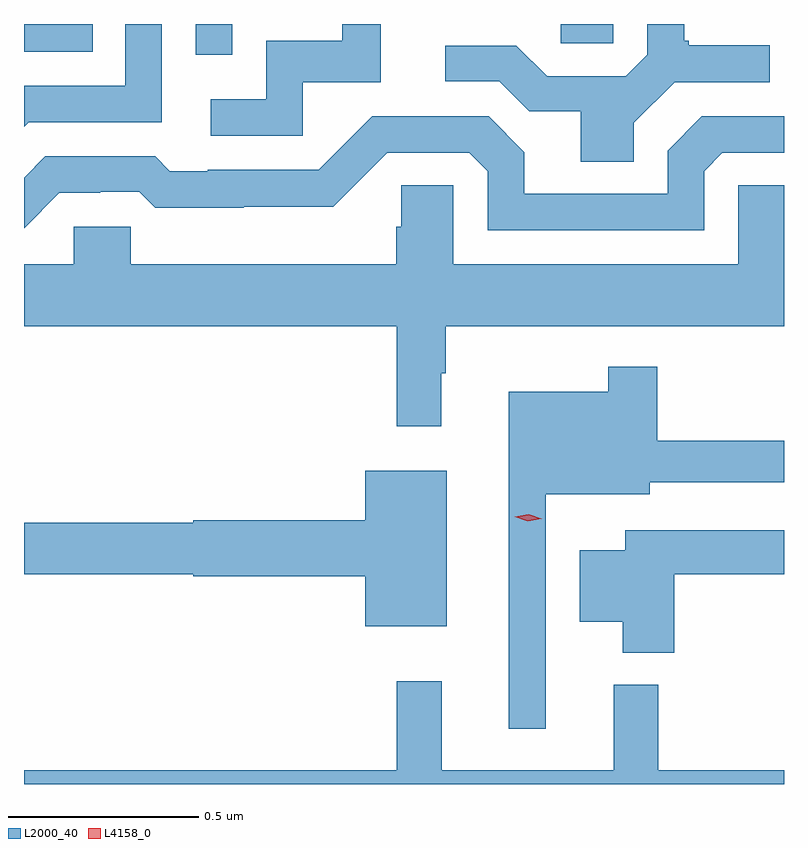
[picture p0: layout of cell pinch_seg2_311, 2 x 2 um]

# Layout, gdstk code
import gdstk
lib = gdstk.Library(unit=1e-6, precision=1e-09)
def R(c, l, rs):  # rectangles x0, y0, x1, y1
    for r in rs: c.add(gdstk.rectangle(r[:2], r[2:], *l))
def P(c, l, *ps):  # polygons
    for p in ps: c.add(gdstk.Polygon(p, *l))
L2000_40 = (2000, 40)
L4158_0 = (4158, 0)

pinch_seg2_311 = lib.new_cell('pinch_seg2_311')
R(pinch_seg2_311, L2000_40, [(946.35,635.031,946.446,635.112), (945.898,635.039,946.079,635.112), (947.311,635.061,947.448,635.112)])
P(pinch_seg2_311, L2000_40, [(946.632,634.959),(946.837,634.959),(946.837,635.112),(946.735,635.112),(946.735,635.068),(946.536,635.068),(946.536,634.914),(946.389,634.914),(946.389,634.818),(946.632,634.818)],
  [(947.503,634.852),(947.61,634.959),(947.86,634.959),(947.86,635.056),(947.647,635.056),(947.647,635.068),(947.635,635.068),(947.635,635.112),(947.538,635.112),(947.538,635.031),(947.481,634.974),(947.275,634.974),(947.194,635.055),(947.007,635.055),(947.007,634.962),(947.148,634.962),(947.228,634.882),(947.363,634.882),(947.363,634.75),(947.503,634.75)],
  [(945.91,634.854),(946.26,634.854),(946.26,635.112),(946.164,635.112),(946.164,634.95),(945.898,634.95),(945.898,634.842)],
  [(947.688,634.725),(947.736,634.773),(947.898,634.773),(947.898,634.869),(947.682,634.869),(947.592,634.779),(947.592,634.665),(947.215,634.665),(947.215,634.775),(947.121,634.869),(946.815,634.869),(946.674,634.728),(946.381,634.728),(946.381,634.725),(946.282,634.725),(946.243,634.764),(945.954,634.764),(945.898,634.708),(945.898,634.575),(945.991,634.668),(946.098,634.668),(946.098,634.671),(946.201,634.671),(946.243,634.629),(946.476,634.629),(946.476,634.631),(946.712,634.631),(946.854,634.773),(947.07,634.773),(947.118,634.725),(947.118,634.569),(947.688,634.569)],
  [(946.996,634.193),(947.008,634.193),(947.008,634.316),(947.898,634.316),(947.898,634.688),(947.778,634.688),(947.778,634.48),(947.028,634.48),(947.028,634.688),(946.891,634.688),(946.891,634.578),(946.877,634.578),(946.877,634.48),(946.179,634.48),(946.179,634.578),(946.029,634.578),(946.029,634.48),(945.898,634.48),(945.898,634.316),(946.879,634.316),(946.879,634.053),(946.996,634.053)],
  [(947.271,633.875),(947.545,633.875),(947.545,633.906),(947.898,633.906),(947.898,634.015),(947.564,634.015),(947.564,634.21),(947.436,634.21),(947.436,634.144),(947.174,634.144),(947.174,633.258),(947.271,633.258)],
  [(947.011,633.937),(946.796,633.937),(946.796,633.806),(946.344,633.806),(946.344,633.8),(945.898,633.8),(945.898,633.664),(946.344,633.664),(946.344,633.659),(946.796,633.659),(946.796,633.527),(947.011,633.527)],
  [(947.609,633.664),(947.898,633.664),(947.898,633.78),(947.48,633.78),(947.48,633.727),(947.36,633.727),(947.36,633.539),(947.474,633.539),(947.474,633.458),(947.609,633.458)],
  [(947.898,633.148),(947.567,633.148),(947.567,633.373),(947.45,633.373),(947.45,633.148),(946.997,633.148),(946.997,633.382),(946.879,633.382),(946.879,633.148),(945.898,633.148),(945.898,633.112),(947.898,633.112)])
P(pinch_seg2_311, L4158_0, [(947.224,633.803),(947.19,633.815),(947.189,633.815),(947.19,633.815),(947.226,633.822),(947.261,633.81),(947.261,633.81),(947.261,633.81)])

lib.write_gds('pinch_seg2_311.gds')
